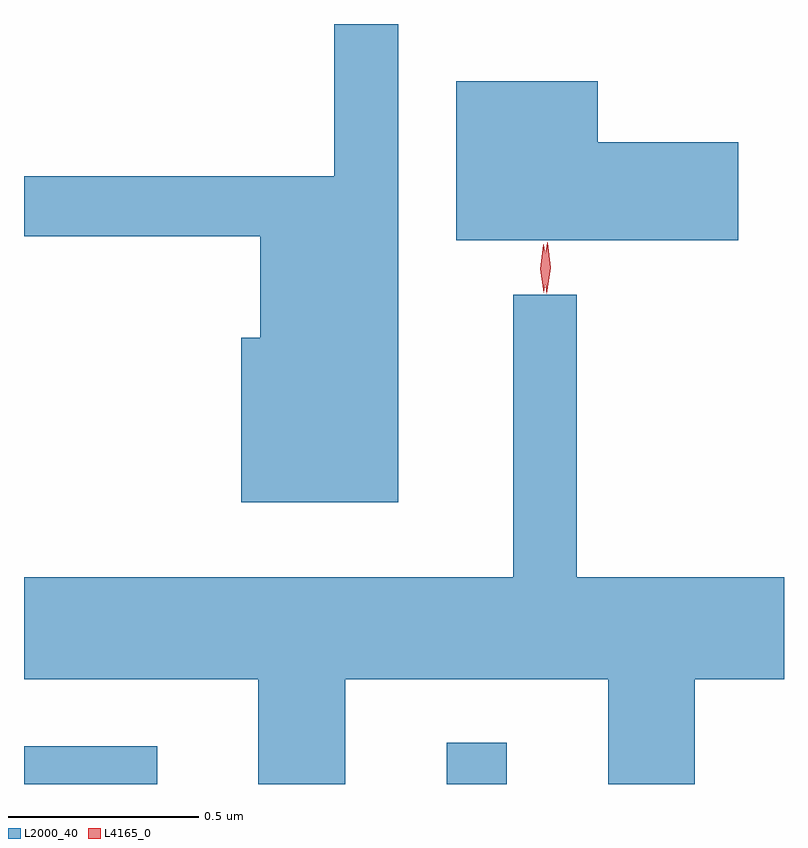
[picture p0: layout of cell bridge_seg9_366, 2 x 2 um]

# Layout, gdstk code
import gdstk
lib = gdstk.Library(unit=1e-6, precision=1e-09)
def R(c, l, rs):  # rectangles x0, y0, x1, y1
    for r in rs: c.add(gdstk.rectangle(r[:2], r[2:], *l))
def P(c, l, *ps):  # polygons
    for p in ps: c.add(gdstk.Polygon(p, *l))
L2000_40 = (2000, 40)
L4165_0 = (4165, 0)

bridge_seg9_366 = lib.new_cell('bridge_seg9_366')
R(bridge_seg9_366, L2000_40, [(765.654,1998.2,766.004,1998.299), (766.766,1998.2,766.924,1998.308)])
P(bridge_seg9_366, L2000_40, [(766.639,2000.2),(766.471,2000.2),(766.471,1999.799),(765.654,1999.799),(765.654,1999.641),(766.276,1999.641),(766.276,1999.374),(766.226,1999.374),(766.226,1998.941),(766.639,1998.941)],
  [(767.534,1999.889),(767.164,1999.889),(767.164,2000.049),(766.791,2000.049),(766.791,1999.631),(767.534,1999.631)],
  [(766.499,1998.476),(767.191,1998.476),(767.191,1998.2),(767.419,1998.2),(767.419,1998.476),(767.654,1998.476),(767.654,1998.744),(767.109,1998.744),(767.109,1999.488),(766.941,1999.488),(766.941,1998.744),(765.654,1998.744),(765.654,1998.476),(766.271,1998.476),(766.271,1998.2),(766.499,1998.2)])
P(bridge_seg9_366, L4165_0, [(767.022,1999.493),(767.022,1999.493),(767.012,1999.556),(767.021,1999.619),(767.022,1999.62),(767.022,1999.619),(767.032,1999.556),(767.022,1999.493)],
  [(767.029,1999.49),(767.02,1999.558),(767.031,1999.625),(767.031,1999.626),(767.032,1999.625),(767.04,1999.558),(767.03,1999.49),(767.03,1999.49)])

lib.write_gds('bridge_seg9_366.gds')
